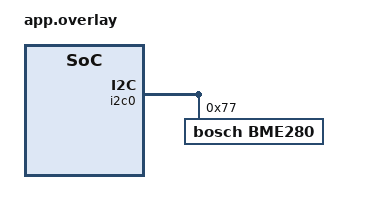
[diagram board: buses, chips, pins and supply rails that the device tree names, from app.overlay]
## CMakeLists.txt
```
# Links the app's real sensor code (bme280.c, unmodified) and the Bosch driver,
# plus the emulator. app.overlay puts the emulated chip on the bus.

cmake_minimum_required(VERSION 3.20.0)

find_package(Zephyr REQUIRED HINTS $ENV{ZEPHYR_BASE})
project(climate_emul)

target_sources(app PRIVATE
    ${CMAKE_CURRENT_SOURCE_DIR}/src/main.c
    ${CMAKE_CURRENT_SOURCE_DIR}/../../src/sensors/bme280.c
    ${CMAKE_CURRENT_SOURCE_DIR}/../../src/sensors/bme280_emul.c
    ${CMAKE_CURRENT_SOURCE_DIR}/../../src/sensors/climate_logic.c
)

target_include_directories(app PRIVATE
    ${CMAKE_CURRENT_SOURCE_DIR}/../../src/sensors
)
```

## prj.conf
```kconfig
CONFIG_ZTEST=y
CONFIG_PRINTK=y

CONFIG_I2C=y
CONFIG_SENSOR=y
CONFIG_BME280=y

# Emulation framework and the emulated I2C controller the fake chip sits on.
CONFIG_EMUL=y
CONFIG_I2C_EMUL=y
```

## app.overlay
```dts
/* Test-only overlay: a BME280 on native_sim's emulated i2c0, under the same
 * node label as the board overlays, so src/sensors/bme280.c binds it unchanged.
 */

&i2c0 {
    status = "okay";

    bme280: bme280@77 {
        compatible = "bosch,bme280";
        reg = <0x77>;
        status = "okay";
    };
};
```

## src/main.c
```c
// The app's sensor code, the Bosch driver and the Zephyr I2C stack, unmodified,
// over an emulated chip. Tests assert properties (range, monotonicity, channel
// independence) rather than exact values, which would mean reimplementing the
// driver's compensation math. The one exception is the datasheet example.

#include <zephyr/ztest.h>
#include <zephyr/kernel.h>

#include "bme280.h"
#include "bme280_emul.h"

/* BME280 datasheet operating ranges. A reading outside them means the
 * emulator's calibration blob is wrong; a bad blob still yields numbers. */
#define TEMP_MIN_MC   (-40000)
#define TEMP_MAX_MC     85000
#define PRESS_MIN_PA    30000  /*  300 hPa */
#define PRESS_MAX_PA   110000  /* 1100 hPa */
#define HUM_MIN_MRH         0
#define HUM_MAX_MRH    100000

static void emul_before(void *fixture)
{
	ARG_UNUSED(fixture);

	/* Restore the default codes so tests do not depend on run order.
	 * Setting these registers fires no callbacks, unlike gpio_emul. */
	bme280_emul_set_raw(BME280_EMUL_ADC_TEMP_DEFAULT,
			    BME280_EMUL_ADC_PRESS_DEFAULT,
			    BME280_EMUL_ADC_HUM_DEFAULT);
}

ZTEST_SUITE(climate_emul, NULL, NULL, emul_before, NULL, NULL);

ZTEST(climate_emul, test_reading_is_plausible)
{
	struct climate_reading r;

	zassert_ok(bme280_read_once(&r), "fetch through the emulated bus failed");

	TC_PRINT("T: %d mC | P: %d Pa | H: %d m%%RH\n",
		 r.temp_mc, r.press_mpa, r.hum_mrh);

	zassert_between_inclusive(r.temp_mc, TEMP_MIN_MC, TEMP_MAX_MC,
				  "temperature %d mC is outside the BME280 range",
				  r.temp_mc);
	zassert_between_inclusive(r.press_mpa, PRESS_MIN_PA, PRESS_MAX_PA,
				  "pressure %d Pa is outside the BME280 range",
				  r.press_mpa);
	zassert_between_inclusive(r.hum_mrh, HUM_MIN_MRH, HUM_MAX_MRH,
				  "humidity %d m%%RH is outside 0-100 %%RH",
				  r.hum_mrh);
}

ZTEST(climate_emul, test_temperature_is_monotonic_in_the_raw_code)
{
	/* A larger raw code must not report a colder room. Unlike the range
	 * check, this catches a sign inversion or swapped byte pair that still
	 * leaves every individual reading inside the sensor's range. */
	static const int32_t codes[] = {300000, 400000, 519888, 600000, 700000};
	int32_t prev_mc = INT32_MIN;

	for (int i = 0; i < ARRAY_SIZE(codes); i++) {
		struct climate_reading r;

		bme280_emul_set_raw(codes[i], BME280_EMUL_ADC_PRESS_DEFAULT,
				    BME280_EMUL_ADC_HUM_DEFAULT);

		zassert_ok(bme280_read_once(&r));
		TC_PRINT("adc_temp %d -> %d mC\n", codes[i], r.temp_mc);

		zassert_true(r.temp_mc > prev_mc,
			     "adc_temp %d reported %d mC, not warmer than the previous %d mC",
			     codes[i], r.temp_mc, prev_mc);
		prev_mc = r.temp_mc;
	}
}

ZTEST(climate_emul, test_humidity_does_not_move_temperature)
{
	/* The 8-byte burst carries pressure, temperature and humidity back to
	 * back, so an off-by-one in the emulator's packing bleeds one channel
	 * into another. */
	struct climate_reading a, b;

	zassert_ok(bme280_read_once(&a));

	bme280_emul_set_raw(BME280_EMUL_ADC_TEMP_DEFAULT,
			    BME280_EMUL_ADC_PRESS_DEFAULT,
			    BME280_EMUL_ADC_HUM_DEFAULT / 2);

	zassert_ok(bme280_read_once(&b));

	zassert_not_equal(a.hum_mrh, b.hum_mrh, "humidity did not change at all");
	zassert_equal(a.temp_mc, b.temp_mc,
		      "changing humidity moved temperature from %d to %d mC",
		      a.temp_mc, b.temp_mc);
	zassert_equal(a.press_mpa, b.press_mpa,
		      "changing humidity moved pressure from %d to %d Pa",
		      a.press_mpa, b.press_mpa);
}

ZTEST(climate_emul, test_datasheet_worked_example)
{
	/* The published result of the Bosch datasheet worked example (section
	 * 4.2.3), for the default codes and calibration blob the emulator
	 * serves. Packing, calibration encoding, driver math and climate_milli()
	 * all have to be right to land here. Humidity has no published example.
	 */
	struct climate_reading r;

	zassert_ok(bme280_read_once(&r));

	zassert_equal(r.temp_mc, 25080, "expected 25080 mC, got %d", r.temp_mc);
	zassert_equal(r.press_mpa, 100653, "expected 100653 Pa, got %d", r.press_mpa);
}
```
